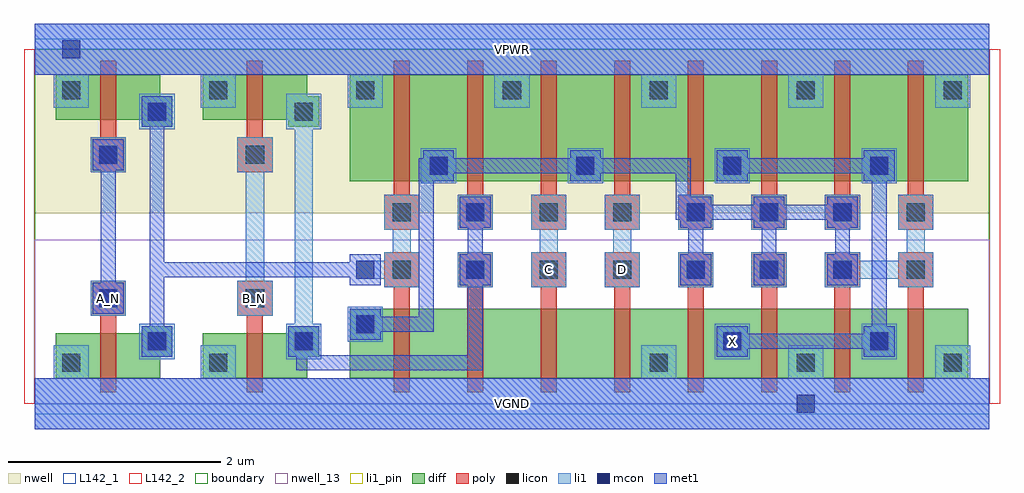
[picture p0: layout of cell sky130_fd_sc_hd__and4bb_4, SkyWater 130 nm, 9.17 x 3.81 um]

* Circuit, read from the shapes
.subckt sky130_fd_sc_hd__and4bb_4 A_N B_N C D VGND VPWR X
XM1 n1 A_N VGND VSUBS sky130_fd_pr__nfet_01v8 w=0.42 l=0.15
XM2 n2 B_N VGND VSUBS sky130_fd_pr__nfet_01v8 w=0.42 l=0.15
XM3 n3 n1 n4 VSUBS sky130_fd_pr__nfet_01v8 w=0.65 l=0.15
XM4 n5 n2 n3 VSUBS sky130_fd_pr__nfet_01v8 w=0.65 l=0.15
XM5 n6 C n5 VSUBS sky130_fd_pr__nfet_01v8 w=0.65 l=0.15
XM6 VGND D n6 VSUBS sky130_fd_pr__nfet_01v8 w=0.65 l=0.15
XM7 X n4 VGND VSUBS sky130_fd_pr__nfet_01v8 w=0.65 l=0.15 m=4
XM8 n1 A_N VPWR n7 sky130_fd_pr__pfet_01v8 w=0.42 l=0.15
XM9 n2 B_N VPWR n7 sky130_fd_pr__pfet_01v8 w=0.42 l=0.15
XM10 n4 n1 VPWR n7 sky130_fd_pr__pfet_01v8 w=1 l=0.15
XM11 VPWR n2 n4 n7 sky130_fd_pr__pfet_01v8 w=1 l=0.15
XM12 n4 C VPWR n7 sky130_fd_pr__pfet_01v8 w=1 l=0.15
XM13 VPWR D n4 n7 sky130_fd_pr__pfet_01v8 w=1 l=0.15
XM14 X n4 VPWR n7 sky130_fd_pr__pfet_01v8 w=1 l=0.15 m=4
.ends

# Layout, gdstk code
import gdstk
lib = gdstk.Library(unit=1e-6, precision=1e-09)
def R(c, l, rs):  # rectangles x0, y0, x1, y1
    for r in rs: c.add(gdstk.rectangle(r[:2], r[2:], *l))
def A(c, l, x, y, w, h, nx, ny, dx, dy):  # array of equal rectangles
    R(c, l, [(x+i*dx, y+j*dy, x+i*dx+w, y+j*dy+h) for i in range(nx) for j in range(ny)])
def P(c, l, *ps):  # polygons
    for p in ps: c.add(gdstk.Polygon(p, *l))
nwell_13 = (64, 13)
nwell = (64, 20)
diff = (65, 20)
poly = (66, 20)
licon = (66, 44)
li1_pin = (67, 16)
li1 = (67, 20)
mcon = (67, 44)
met1 = (68, 20)
L142_1 = (142, 1)
L142_2 = (142, 2)
boundary = (235, 4)

sky130_fd_sc_hd__and4bb_ = lib.new_cell('sky130_fd_sc_hd__and4bb_4')
R(sky130_fd_sc_hd__and4bb_, nwell_13, [(0,0,8.97,1.54)])
R(sky130_fd_sc_hd__and4bb_, nwell, [(0,1.79,8.97,3.33)])
A(sky130_fd_sc_hd__and4bb_, diff, 3.375, 0.24, 0.69, 0.65, 7, 1, 0.69, 0)
A(sky130_fd_sc_hd__and4bb_, diff, 3.375, 2.09, 0.69, 1, 7, 1, 0.69, 0)
R(sky130_fd_sc_hd__and4bb_, diff, [(0.2,0.24,1.18,0.66), (0.2,0.24,0.615,0.66), (1.58,0.24,2.56,0.66), (1.58,0.24,1.995,0.66), (2.96,0.24,8.77,0.89), (2.96,0.24,3.375,0.89), (8.205,0.24,8.77,0.89), (2.96,2.09,8.77,3.09), (2.96,2.09,3.375,3.09), (8.205,2.09,8.77,3.09), (0.2,2.67,1.18,3.09), (0.2,2.67,0.615,3.09), (1.58,2.67,2.56,3.09), (1.58,2.67,1.995,3.09)])
P(sky130_fd_sc_hd__and4bb_, diff, [(1.995,0.24),(1.995,0.66),(2.385,0.66),(2.385,0.73),(2.675,0.73),(2.675,0.44),(2.56,0.44),(2.56,0.24)],
  [(0.615,0.24),(0.615,0.66),(1.005,0.66),(1.005,0.73),(1.295,0.73),(1.295,0.44),(1.18,0.44),(1.18,0.24)],
  [(2.385,2.6),(2.385,2.67),(1.995,2.67),(1.995,3.09),(2.56,3.09),(2.56,2.89),(2.675,2.89),(2.675,2.6)],
  [(1.005,2.6),(1.005,2.67),(0.615,2.67),(0.615,3.09),(1.18,3.09),(1.18,2.89),(1.295,2.89),(1.295,2.6)])
P(sky130_fd_sc_hd__and4bb_, poly, [(4.065,0.11),(4.065,1.095),(3.975,1.095),(3.975,1.425),(4.305,1.425),(4.305,1.095),(4.215,1.095),(4.215,0.11)],
  [(3.975,1.635),(3.975,1.965),(4.065,1.965),(4.065,3.22),(4.215,3.22),(4.215,1.965),(4.305,1.965),(4.305,1.635)],
  [(6.135,0.11),(6.135,1.095),(6.045,1.095),(6.045,1.425),(6.375,1.425),(6.375,1.095),(6.285,1.095),(6.285,0.11)],
  [(6.825,0.11),(6.825,1.095),(6.735,1.095),(6.735,1.425),(7.065,1.425),(7.065,1.095),(6.975,1.095),(6.975,0.11)],
  [(7.515,0.11),(7.515,1.095),(7.425,1.095),(7.425,1.425),(7.755,1.425),(7.755,1.095),(7.665,1.095),(7.665,0.11)],
  [(8.205,0.11),(8.205,1.095),(8.115,1.095),(8.115,1.425),(8.445,1.425),(8.445,1.095),(8.355,1.095),(8.355,0.11)],
  [(6.045,1.635),(6.045,1.965),(6.135,1.965),(6.135,3.22),(6.285,3.22),(6.285,1.965),(6.375,1.965),(6.375,1.635)],
  [(6.735,1.635),(6.735,1.965),(6.825,1.965),(6.825,3.22),(6.975,3.22),(6.975,1.965),(7.065,1.965),(7.065,1.635)],
  [(7.425,1.635),(7.425,1.965),(7.515,1.965),(7.515,3.22),(7.665,3.22),(7.665,1.965),(7.755,1.965),(7.755,1.635)],
  [(8.115,1.635),(8.115,1.965),(8.205,1.965),(8.205,3.22),(8.355,3.22),(8.355,1.965),(8.445,1.965),(8.445,1.635)],
  [(1.995,0.11),(1.995,0.825),(1.905,0.825),(1.905,1.155),(2.235,1.155),(2.235,0.825),(2.145,0.825),(2.145,0.11)],
  [(1.905,2.175),(1.905,2.505),(1.995,2.505),(1.995,3.22),(2.145,3.22),(2.145,2.505),(2.235,2.505),(2.235,2.175)],
  [(5.445,0.11),(5.445,1.095),(5.355,1.095),(5.355,1.425),(5.685,1.425),(5.685,1.095),(5.595,1.095),(5.595,0.11)],
  [(5.355,1.635),(5.355,1.965),(5.445,1.965),(5.445,3.22),(5.595,3.22),(5.595,1.965),(5.685,1.965),(5.685,1.635)],
  [(0.615,0.11),(0.615,0.825),(0.525,0.825),(0.525,1.155),(0.855,1.155),(0.855,0.825),(0.765,0.825),(0.765,0.11)],
  [(0.525,2.175),(0.525,2.505),(0.615,2.505),(0.615,3.22),(0.765,3.22),(0.765,2.505),(0.855,2.505),(0.855,2.175)],
  [(4.755,0.11),(4.755,1.095),(4.665,1.095),(4.665,1.425),(4.995,1.425),(4.995,1.095),(4.905,1.095),(4.905,0.11)],
  [(4.665,1.635),(4.665,1.965),(4.755,1.965),(4.755,3.22),(4.905,3.22),(4.905,1.965),(4.995,1.965),(4.995,1.635)],
  [(3.375,0.11),(3.375,1.095),(3.285,1.095),(3.285,1.425),(3.615,1.425),(3.615,1.095),(3.525,1.095),(3.525,0.11)],
  [(3.285,1.635),(3.285,1.965),(3.375,1.965),(3.375,3.22),(3.525,3.22),(3.525,1.965),(3.615,1.965),(3.615,1.635)])
A(sky130_fd_sc_hd__and4bb_, licon, 5.78, 0.3, 0.17, 0.17, 3, 1, 1.38, 0)
A(sky130_fd_sc_hd__and4bb_, licon, 3.365, 1.175, 0.17, 0.17, 8, 2, 0.69, 0.54)
A(sky130_fd_sc_hd__and4bb_, licon, 3.71, 2.15, 0.17, 0.17, 4, 1, 1.38, 0)
A(sky130_fd_sc_hd__and4bb_, licon, 0.26, 2.86, 0.17, 0.17, 7, 1, 1.38, 0)
R(sky130_fd_sc_hd__and4bb_, licon, [(0.26,0.3,0.43,0.47), (1.64,0.3,1.81,0.47), (1.065,0.5,1.235,0.67), (2.445,0.5,2.615,0.67), (6.47,0.5,6.64,0.67), (7.85,0.5,8.02,0.67), (3.02,0.66,3.19,0.83), (0.605,0.905,0.775,1.075), (1.985,0.905,2.155,1.075), (0.605,2.255,0.775,2.425), (1.985,2.255,2.155,2.425), (1.065,2.66,1.235,2.83), (2.445,2.66,2.615,2.83)])
R(sky130_fd_sc_hd__and4bb_, li1_pin, [(0,-0.24,8.97,0.24), (6.39,0.42,6.72,0.75), (0.525,0.825,0.855,1.155), (0,3.09,8.97,3.57)])
P(sky130_fd_sc_hd__and4bb_, li1_pin, [(1.905,0.825),(1.905,1.155),(1.985,1.155),(1.985,2.175),(1.905,2.175),(1.905,2.505),(2.235,2.505),(2.235,2.175),(2.155,2.175),(2.155,1.155),(2.235,1.155),(2.235,0.825)],
  [(5.355,1.095),(5.355,1.425),(5.435,1.425),(5.435,1.635),(5.355,1.635),(5.355,1.965),(5.685,1.965),(5.685,1.635),(5.605,1.635),(5.605,1.425),(5.685,1.425),(5.685,1.095)],
  [(4.665,1.095),(4.665,1.425),(4.745,1.425),(4.745,1.635),(4.665,1.635),(4.665,1.965),(4.995,1.965),(4.995,1.635),(4.915,1.635),(4.915,1.425),(4.995,1.425),(4.995,1.095)])
A(sky130_fd_sc_hd__and4bb_, li1, 6.045, 1.635, 0.33, 0.33, 3, 1, 0.69, 0)
A(sky130_fd_sc_hd__and4bb_, li1, 3.63, 2.07, 0.33, 0.33, 4, 1, 1.38, 0)
R(sky130_fd_sc_hd__and4bb_, li1, [(0.985,0.42,1.315,0.75), (6.39,0.42,6.72,0.75), (7.77,0.42,8.1,0.75), (2.94,0.58,3.27,0.91), (0.525,0.825,0.855,1.155), (3.975,1.095,4.305,1.425), (6.045,1.095,6.375,1.425), (6.735,1.095,7.065,1.425), (3.975,1.635,4.305,1.965), (0.525,2.175,0.855,2.505), (0.985,2.58,1.315,2.91)])
P(sky130_fd_sc_hd__and4bb_, li1, [(2.365,0.42),(2.365,0.75),(2.445,0.75),(2.445,2.58),(2.365,2.58),(2.365,2.91),(2.695,2.91),(2.695,2.58),(2.615,2.58),(2.615,0.75),(2.695,0.75),(2.695,0.42)],
  [(7.425,1.095),(7.425,1.425),(7.755,1.425),(7.755,1.345),(8.115,1.345),(8.115,1.425),(8.195,1.425),(8.195,1.635),(8.115,1.635),(8.115,1.965),(8.445,1.965),(8.445,1.635),(8.365,1.635),(8.365,1.425),(8.445,1.425),(8.445,1.095),(8.115,1.095),(8.115,1.175),(7.755,1.175),(7.755,1.095)],
  [(1.905,0.825),(1.905,1.155),(1.985,1.155),(1.985,2.175),(1.905,2.175),(1.905,2.505),(2.235,2.505),(2.235,2.175),(2.155,2.175),(2.155,1.155),(2.235,1.155),(2.235,0.825)],
  [(5.355,1.095),(5.355,1.425),(5.435,1.425),(5.435,1.635),(5.355,1.635),(5.355,1.965),(5.685,1.965),(5.685,1.635),(5.605,1.635),(5.605,1.425),(5.685,1.425),(5.685,1.095)],
  [(0.18,2.78),(0.18,3.09),(0,3.09),(0,3.57),(8.97,3.57),(8.97,3.09),(8.79,3.09),(8.79,2.78),(8.46,2.78),(8.46,3.09),(7.41,3.09),(7.41,2.78),(7.08,2.78),(7.08,3.09),(6.03,3.09),(6.03,2.78),(5.7,2.78),(5.7,3.09),(4.65,3.09),(4.65,2.78),(4.32,2.78),(4.32,3.09),(3.27,3.09),(3.27,2.78),(2.94,2.78),(2.94,3.09),(1.89,3.09),(1.89,2.78),(1.56,2.78),(1.56,3.09),(0.51,3.09),(0.51,2.78)],
  [(4.665,1.095),(4.665,1.425),(4.745,1.425),(4.745,1.635),(4.665,1.635),(4.665,1.965),(4.995,1.965),(4.995,1.635),(4.915,1.635),(4.915,1.425),(4.995,1.425),(4.995,1.095)],
  [(0,-0.24),(0,0.24),(0.18,0.24),(0.18,0.55),(0.51,0.55),(0.51,0.24),(1.56,0.24),(1.56,0.55),(1.89,0.55),(1.89,0.24),(5.7,0.24),(5.7,0.55),(6.03,0.55),(6.03,0.24),(7.08,0.24),(7.08,0.55),(7.41,0.55),(7.41,0.24),(8.46,0.24),(8.46,0.55),(8.79,0.55),(8.79,0.24),(8.97,0.24),(8.97,-0.24)],
  [(3.285,1.095),(3.285,1.175),(3.02,1.175),(3.02,1.345),(3.285,1.345),(3.285,1.425),(3.365,1.425),(3.365,1.635),(3.285,1.635),(3.285,1.965),(3.615,1.965),(3.615,1.635),(3.535,1.635),(3.535,1.425),(3.615,1.425),(3.615,1.095)])
A(sky130_fd_sc_hd__and4bb_, mcon, 6.125, 1.175, 0.17, 0.17, 3, 2, 0.69, 0.54)
A(sky130_fd_sc_hd__and4bb_, mcon, 3.71, 2.15, 0.17, 0.17, 4, 1, 1.38, 0)
R(sky130_fd_sc_hd__and4bb_, mcon, [(7.16,-0.085,7.33,0.085), (1.065,0.5,1.235,0.67), (2.445,0.5,2.615,0.67), (6.47,0.5,6.64,0.67), (7.85,0.5,8.02,0.67), (3.02,0.66,3.19,0.83), (0.605,0.905,0.775,1.075), (3.02,1.175,3.19,1.345), (4.055,1.175,4.225,1.345), (4.055,1.715,4.225,1.885), (0.605,2.255,0.775,2.425), (1.065,2.66,1.235,2.83), (0.26,3.245,0.43,3.415)])
R(sky130_fd_sc_hd__and4bb_, met1, [(0,-0.24,8.97,0.24), (0,3.09,8.97,3.57)])
P(sky130_fd_sc_hd__and4bb_, met1, [(2.46,0.315),(2.46,0.44),(2.385,0.44),(2.385,0.73),(2.675,0.73),(2.675,0.455),(4.07,0.455),(4.07,1.115),(3.995,1.115),(3.995,1.405),(4.07,1.405),(4.07,1.655),(3.995,1.655),(3.995,1.945),(4.285,1.945),(4.285,1.655),(4.21,1.655),(4.21,1.405),(4.285,1.405),(4.285,1.115),(4.21,1.115),(4.21,0.315)],
  [(2.96,0.6),(2.96,0.89),(3.25,0.89),(3.25,0.815),(3.61,0.815),(3.61,2.305),(3.65,2.305),(3.65,2.38),(3.94,2.38),(3.94,2.305),(5.03,2.305),(5.03,2.38),(5.32,2.38),(5.32,2.305),(6.165,2.305),(6.165,1.945),(6.355,1.945),(6.355,1.87),(6.755,1.87),(6.755,1.945),(7.045,1.945),(7.045,1.87),(7.445,1.87),(7.445,1.945),(7.735,1.945),(7.735,1.655),(7.66,1.655),(7.66,1.405),(7.735,1.405),(7.735,1.115),(7.445,1.115),(7.445,1.405),(7.52,1.405),(7.52,1.655),(7.445,1.655),(7.445,1.73),(7.045,1.73),(7.045,1.655),(6.97,1.655),(6.97,1.405),(7.045,1.405),(7.045,1.115),(6.755,1.115),(6.755,1.405),(6.83,1.405),(6.83,1.655),(6.755,1.655),(6.755,1.73),(6.355,1.73),(6.355,1.655),(6.28,1.655),(6.28,1.405),(6.355,1.405),(6.355,1.115),(6.065,1.115),(6.065,1.405),(6.14,1.405),(6.14,1.655),(6.065,1.655),(6.065,1.73),(6.025,1.73),(6.025,2.165),(5.32,2.165),(5.32,2.09),(5.03,2.09),(5.03,2.165),(3.94,2.165),(3.94,2.09),(3.75,2.09),(3.75,0.675),(3.25,0.675),(3.25,0.6)],
  [(0.545,0.845),(0.545,1.135),(0.62,1.135),(0.62,2.195),(0.545,2.195),(0.545,2.485),(0.835,2.485),(0.835,2.195),(0.76,2.195),(0.76,1.135),(0.835,1.135),(0.835,0.845)],
  [(1.005,0.44),(1.005,0.73),(1.08,0.73),(1.08,2.6),(1.005,2.6),(1.005,2.89),(1.295,2.89),(1.295,2.6),(1.22,2.6),(1.22,1.33),(2.96,1.33),(2.96,1.405),(3.25,1.405),(3.25,1.115),(2.96,1.115),(2.96,1.19),(1.22,1.19),(1.22,0.73),(1.295,0.73),(1.295,0.44)],
  [(6.41,0.44),(6.41,0.73),(6.7,0.73),(6.7,0.655),(7.79,0.655),(7.79,0.73),(7.865,0.73),(7.865,2.09),(7.79,2.09),(7.79,2.165),(6.7,2.165),(6.7,2.09),(6.41,2.09),(6.41,2.38),(6.7,2.38),(6.7,2.305),(7.79,2.305),(7.79,2.38),(8.08,2.38),(8.08,2.09),(8.005,2.09),(8.005,0.73),(8.08,0.73),(8.08,0.44),(7.79,0.44),(7.79,0.515),(6.7,0.515),(6.7,0.44)])
R(sky130_fd_sc_hd__and4bb_, L142_1, [(0,-0.1,8.97,0), (0,3.33,8.97,3.43)])
R(sky130_fd_sc_hd__and4bb_, L142_2, [(-0.1,0,0,3.33), (8.97,0,9.07,3.33)])
R(sky130_fd_sc_hd__and4bb_, boundary, [(0,0,8.97,3.33)])
sky130_fd_sc_hd__and4bb_.add(gdstk.Label('X', (6.555,0.585), layer=67, texttype=5))
sky130_fd_sc_hd__and4bb_.add(gdstk.Label('A_N', (0.69,0.99), layer=67, texttype=5))
sky130_fd_sc_hd__and4bb_.add(gdstk.Label('B_N', (2.07,0.99), layer=67, texttype=5))
sky130_fd_sc_hd__and4bb_.add(gdstk.Label('D', (5.52,1.26), layer=67, texttype=5))
sky130_fd_sc_hd__and4bb_.add(gdstk.Label('C', (4.83,1.26), layer=67, texttype=5))
sky130_fd_sc_hd__and4bb_.add(gdstk.Label('VGND', (4.485,0), layer=67, texttype=5))
sky130_fd_sc_hd__and4bb_.add(gdstk.Label('VPWR', (4.485,3.33), layer=67, texttype=5))
sky130_fd_sc_hd__and4bb_.add(gdstk.Label('VGND', (4.485,0), layer=68, texttype=5))
sky130_fd_sc_hd__and4bb_.add(gdstk.Label('VPWR', (4.485,3.33), layer=68, texttype=5))

lib.write_gds('sky130_fd_sc_hd__and4bb_4.gds')
